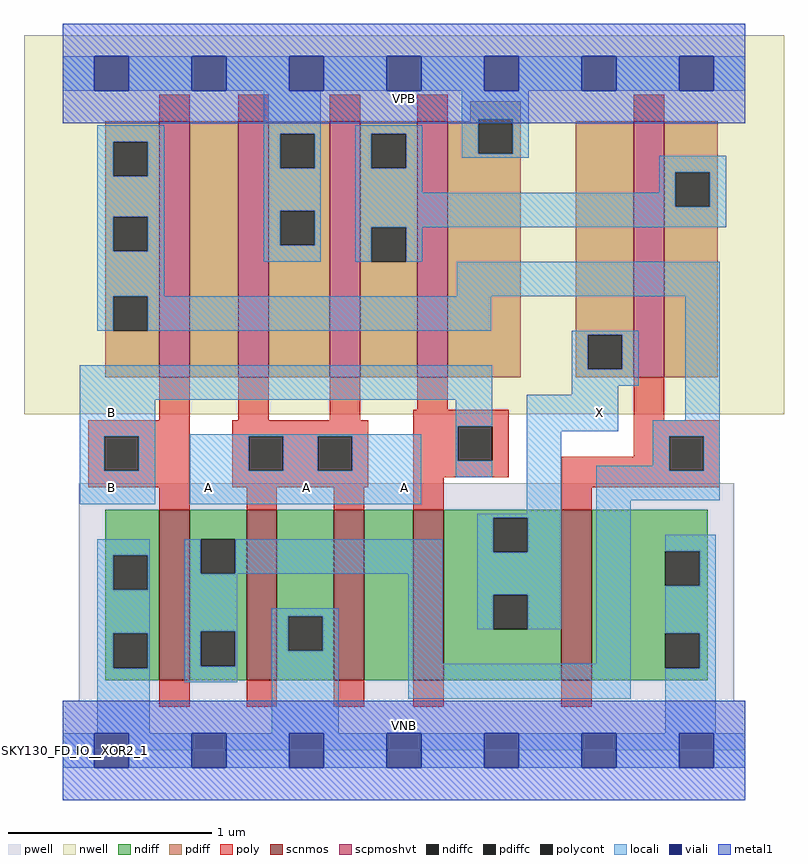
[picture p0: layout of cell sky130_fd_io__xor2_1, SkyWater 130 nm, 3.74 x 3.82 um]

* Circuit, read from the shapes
.subckt sky130_fd_io__xor2_1 VNB VPB VPWR VGND A B X
XM1 n1 B VGND VNB sky130_fd_pr__nfet_01v8 w=0.84 l=0.15
XM2 VGND A n1 VNB sky130_fd_pr__nfet_01v8 w=0.84 l=0.15
XM3 n2 A VGND VNB sky130_fd_pr__nfet_01v8 w=0.84 l=0.15
XM4 X B n2 VNB sky130_fd_pr__nfet_01v8 w=0.84 l=0.15
XM5 VGND n1 X VNB sky130_fd_pr__nfet_01v8 w=0.84 l=0.15
XM6 n3 B n1 VPB sky130_fd_pr__pfet_01v8_hvt w=1.26 l=0.15
XM7 VPWR A n3 VPB sky130_fd_pr__pfet_01v8_hvt w=1.26 l=0.15
XM8 n4 A VPWR VPB sky130_fd_pr__pfet_01v8_hvt w=1.26 l=0.15
XM9 VPWR B n4 VPB sky130_fd_pr__pfet_01v8_hvt w=1.26 l=0.15
XM10 n4 n1 X VPB sky130_fd_pr__pfet_01v8_hvt w=1.26 l=0.15
.ends

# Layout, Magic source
magic
tech sky130A
magscale 1 2
<< nwell >>
rect -38 331 710 704
<< pwell >>
rect 16 49 661 263
rect 0 0 672 49
<< scnmos >>
rect 95 69 125 237
rect 181 69 211 237
rect 267 69 297 237
rect 345 69 375 237
rect 491 69 521 237
<< scpmoshvt >>
rect 95 367 125 619
rect 173 367 203 619
rect 263 367 293 619
rect 349 367 379 619
rect 562 367 592 619
<< ndiff >>
rect 42 192 95 237
rect 42 158 50 192
rect 84 158 95 192
rect 42 115 95 158
rect 42 81 50 115
rect 84 81 95 115
rect 42 69 95 81
rect 125 208 181 237
rect 125 174 136 208
rect 170 174 181 208
rect 125 117 181 174
rect 125 83 136 117
rect 170 83 181 117
rect 125 69 181 83
rect 211 132 267 237
rect 211 98 222 132
rect 256 98 267 132
rect 211 69 267 98
rect 297 69 345 237
rect 375 229 491 237
rect 375 195 424 229
rect 458 195 491 229
rect 375 153 491 195
rect 375 119 424 153
rect 458 119 491 153
rect 375 69 491 119
rect 521 196 635 237
rect 521 162 593 196
rect 627 162 635 196
rect 521 115 635 162
rect 521 81 593 115
rect 627 81 635 115
rect 521 69 635 81
<< pdiff >>
rect 401 621 451 639
rect 401 619 409 621
rect 42 599 95 619
rect 42 565 50 599
rect 84 565 95 599
rect 42 525 95 565
rect 42 491 50 525
rect 84 491 95 525
rect 42 447 95 491
rect 42 413 50 447
rect 84 413 95 447
rect 42 367 95 413
rect 125 367 173 619
rect 203 607 263 619
rect 203 573 214 607
rect 248 573 263 607
rect 203 531 263 573
rect 203 497 214 531
rect 248 497 263 531
rect 203 367 263 497
rect 293 607 349 619
rect 293 573 304 607
rect 338 573 349 607
rect 293 515 349 573
rect 293 481 304 515
rect 338 481 349 515
rect 293 367 349 481
rect 379 587 409 619
rect 443 587 451 621
rect 379 367 451 587
rect 505 409 562 619
rect 505 375 517 409
rect 551 375 562 409
rect 505 367 562 375
rect 592 569 645 619
rect 592 535 603 569
rect 637 535 645 569
rect 592 367 645 535
<< ndiffc >>
rect 50 158 84 192
rect 50 81 84 115
rect 136 174 170 208
rect 136 83 170 117
rect 222 98 256 132
rect 424 195 458 229
rect 424 119 458 153
rect 593 162 627 196
rect 593 81 627 115
<< pdiffc >>
rect 50 565 84 599
rect 50 491 84 525
rect 50 413 84 447
rect 214 573 248 607
rect 214 497 248 531
rect 304 573 338 607
rect 304 481 338 515
rect 409 587 443 621
rect 517 375 551 409
rect 603 535 637 569
<< poly >>
rect 95 619 125 645
rect 173 619 203 645
rect 263 619 293 645
rect 349 619 379 645
rect 562 619 592 645
rect 95 325 125 367
rect 173 325 203 367
rect 263 325 293 367
rect 349 335 379 367
rect 25 309 125 325
rect 25 275 41 309
rect 75 275 125 309
rect 25 259 125 275
rect 167 309 301 325
rect 167 275 183 309
rect 217 275 251 309
rect 285 275 301 309
rect 167 259 301 275
rect 345 319 439 335
rect 345 285 389 319
rect 423 285 439 319
rect 562 325 592 367
rect 562 309 647 325
rect 562 289 597 309
rect 345 269 439 285
rect 491 275 597 289
rect 631 275 647 309
rect 95 237 125 259
rect 181 237 211 259
rect 267 237 297 259
rect 345 237 375 269
rect 491 259 647 275
rect 491 237 521 259
rect 95 43 125 69
rect 181 43 211 69
rect 267 43 297 69
rect 345 43 375 69
rect 491 43 521 69
<< polycont >>
rect 41 275 75 309
rect 183 275 217 309
rect 251 275 285 309
rect 389 285 423 319
rect 597 275 631 309
<< locali >>
rect 0 649 31 683
rect 65 649 127 683
rect 161 649 223 683
rect 257 649 319 683
rect 353 649 415 683
rect 449 649 511 683
rect 545 649 607 683
rect 641 649 672 683
rect 34 599 100 615
rect 34 565 50 599
rect 84 565 100 599
rect 34 525 100 565
rect 34 491 50 525
rect 84 491 100 525
rect 34 447 100 491
rect 198 607 254 649
rect 393 621 459 649
rect 198 573 214 607
rect 248 573 254 607
rect 198 531 254 573
rect 198 497 214 531
rect 248 497 254 531
rect 198 481 254 497
rect 288 607 354 615
rect 288 573 304 607
rect 338 573 354 607
rect 393 587 409 621
rect 443 587 459 621
rect 393 583 459 587
rect 288 549 354 573
rect 587 569 653 585
rect 587 549 603 569
rect 288 535 603 549
rect 637 535 653 569
rect 288 515 653 535
rect 288 481 304 515
rect 338 481 354 515
rect 388 447 647 481
rect 34 413 50 447
rect 84 413 422 447
rect 501 409 567 413
rect 17 345 423 379
rect 501 375 517 409
rect 551 375 567 409
rect 501 359 567 375
rect 501 350 547 359
rect 17 309 91 345
rect 387 319 423 345
rect 17 275 41 309
rect 75 275 91 309
rect 17 242 91 275
rect 125 309 353 311
rect 125 275 183 309
rect 217 275 251 309
rect 285 275 353 309
rect 125 242 353 275
rect 387 285 389 319
rect 387 269 423 285
rect 457 314 547 350
rect 613 325 647 447
rect 457 233 491 314
rect 581 309 647 325
rect 581 280 597 309
rect 408 229 491 233
rect 34 192 86 208
rect 34 158 50 192
rect 84 158 86 192
rect 34 115 86 158
rect 34 81 50 115
rect 84 81 86 115
rect 34 17 86 81
rect 120 174 136 208
rect 170 174 374 208
rect 120 117 172 174
rect 120 83 136 117
rect 170 83 172 117
rect 120 67 172 83
rect 206 132 272 140
rect 206 98 222 132
rect 256 98 272 132
rect 206 17 272 98
rect 340 85 374 174
rect 408 195 424 229
rect 458 195 491 229
rect 408 153 491 195
rect 408 119 424 153
rect 458 119 491 153
rect 525 275 597 280
rect 631 275 647 309
rect 525 246 647 275
rect 525 85 559 246
rect 340 51 559 85
rect 593 196 643 212
rect 627 162 643 196
rect 593 115 643 162
rect 627 81 643 115
rect 593 17 643 81
rect 0 -17 31 17
rect 65 -17 127 17
rect 161 -17 223 17
rect 257 -17 319 17
rect 353 -17 415 17
rect 449 -17 511 17
rect 545 -17 607 17
rect 641 -17 672 17
<< viali >>
rect 31 649 65 683
rect 127 649 161 683
rect 223 649 257 683
rect 319 649 353 683
rect 415 649 449 683
rect 511 649 545 683
rect 607 649 641 683
rect 31 -17 65 17
rect 127 -17 161 17
rect 223 -17 257 17
rect 319 -17 353 17
rect 415 -17 449 17
rect 511 -17 545 17
rect 607 -17 641 17
<< metal1 >>
rect 0 683 672 715
rect 0 649 31 683
rect 65 649 127 683
rect 161 649 223 683
rect 257 649 319 683
rect 353 649 415 683
rect 449 649 511 683
rect 545 649 607 683
rect 641 649 672 683
rect 0 617 672 649
rect 0 17 672 49
rect 0 -17 31 17
rect 65 -17 127 17
rect 161 -17 223 17
rect 257 -17 319 17
rect 353 -17 415 17
rect 449 -17 511 17
rect 545 -17 607 17
rect 641 -17 672 17
rect 0 -49 672 -17
<< labels >>
flabel pwell s 0 0 672 49 0 FreeSans 200 0 0 0 VNB
port 1 nsew
flabel nwell s 0 617 672 666 0 FreeSans 200 0 0 0 VPB
port 2 nsew
rlabel comment s 0 0 0 0 4 SKY130_FD_IO__XOR2_1
flabel metal1 s 0 617 672 666 0 FreeSans 340 0 0 0 VPWR
port 3 nsew
flabel metal1 s 0 0 672 49 0 FreeSans 340 0 0 0 VGND
port 4 nsew
flabel locali s 127 242 161 276 0 FreeSans 340 0 0 0 A
port 5 nsew
flabel locali s 223 242 257 276 0 FreeSans 340 0 0 0 A
port 5 nsew
flabel locali s 319 242 353 276 0 FreeSans 340 0 0 0 A
port 5 nsew
flabel locali s 31 242 65 276 0 FreeSans 340 0 0 0 B
port 6 nsew
flabel locali s 31 316 65 350 0 FreeSans 340 0 0 0 B
port 6 nsew
flabel locali s 511 316 545 350 0 FreeSans 340 0 0 0 X
port 7 nsew
<< properties >>
string FIXED_BBOX 0 0 672 666
string GDS_FILE $PDKPATH/libs.ref/sky130_fd_io/gds/sky130_ef_io__gpiov2_pad_wrapped.gds
string GDS_END 367070
string GDS_START 361088
<< end >>
